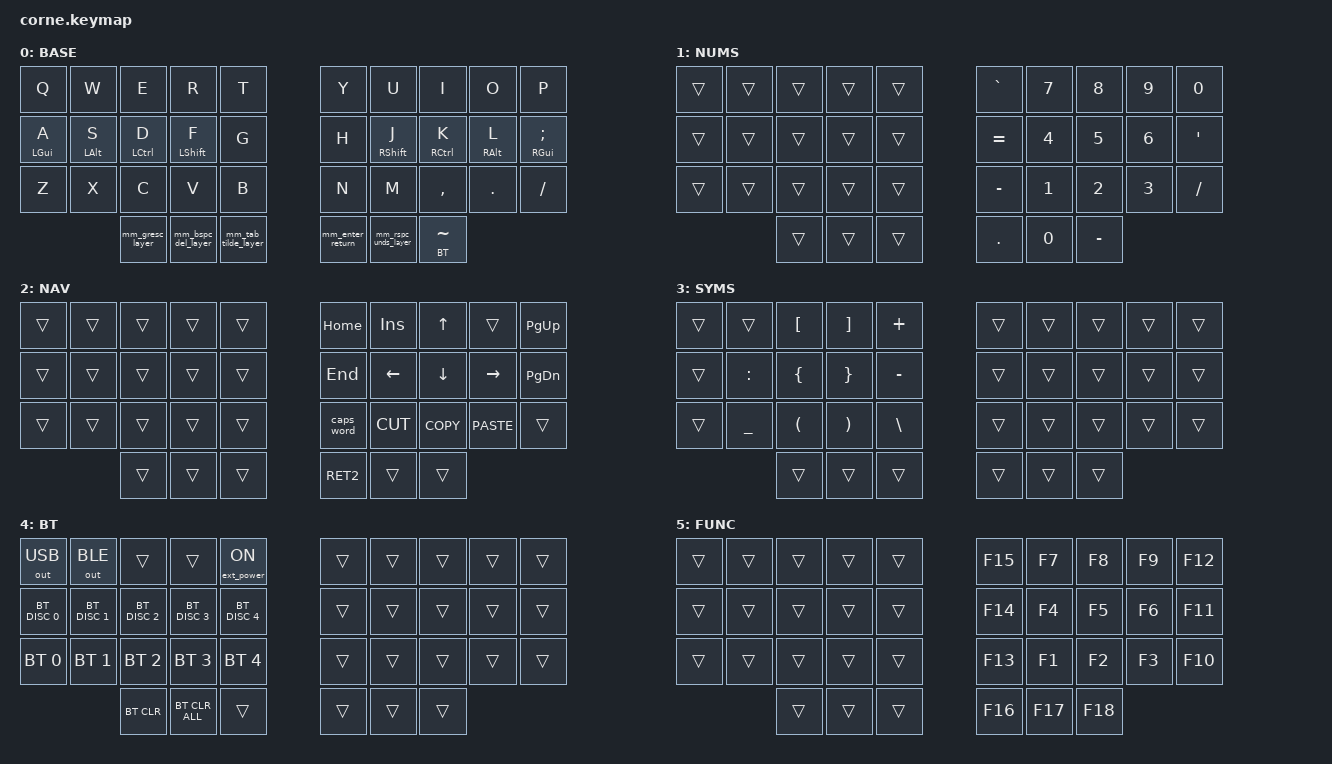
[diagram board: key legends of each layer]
#include <behaviors.dtsi>
#include <dt-bindings/zmk/keys.h>
#include <dt-bindings/zmk/bt.h>
#include <dt-bindings/zmk/ext_power.h>
#include <dt-bindings/zmk/outputs.h>

#include "keypos_36keys.h"

#define HM_TAPPING_TERM 300
#define HM_TAPPING_TERM_FAST 200
#define HM_PRIOR_IDLE 150
#define QUICK_TAP_MS 175

#define BASE 0
#define NUMS 1
#define NAV  2
#define SYMS 3
#define BT   4
#define FUNC 5

&sk {
  release-after-ms = <900>;
  quick-release;
};

&sl { // Allow sticky mods to chord across sticky layers.
  ignore-modifiers;
};

&lt {
  flavor = "balanced";
  tapping-term-ms = <200>;
  quick-tap-ms = <QUICK_TAP_MS>;
};

&mt {
  flavor = "balanced";
  quick-tap-ms = <QUICK_TAP_MS>;
};

&caps_word {
  continue-list = <
    UNDERSCORE MINUS
    LCTRL LALT LGUI LSHFT
    RCTRL RALT RGUI RSHFT
    BACKSPACE
  >;
};

/ {
    chosen {
      zmk,matrix_transform = &five_column_transform;
    };

    behaviors {
        mm_gresc_layer: grave_escape_layer {
            compatible = "zmk,behavior-mod-morph";
            #binding-cells = <0>;
            bindings = <&lt FUNC ESC>, <&kp GRAVE>;
            mods = <(MOD_LSFT|MOD_LCTL)>;
        };

        mm_tab_tilde_layer: tab_tilde_layer {
            compatible = "zmk,behavior-mod-morph";
            #binding-cells = <0>;
            bindings = <&lt NAV TAB>, <&kp TILDE>;
            mods = <(MOD_LSFT|MOD_LCTL)>;
        };

        mm_bspc_del_layer: modmorph_bspc_del_layer {
            compatible = "zmk,behavior-mod-morph";
            #binding-cells = <0>;
            bindings = <&lt NUMS BSPC>, <&kp DEL>;
            mods = <(MOD_RCTL|MOD_RSFT)>;
        };

        mm_rspc_unds_layer: modmorph_rspace_underscore_layer {
            compatible = "zmk,behavior-mod-morph";
            #binding-cells = <0>;
            bindings = <&lt SYMS SPACE>, <&kp MINUS>;
            mods = <(MOD_LCTL|MOD_LSFT)>;
            keep-mods = <(MOD_RSFT)>;
        };

        mm_enter_return: modmorph_enter_return {
            compatible = "zmk,behavior-mod-morph";
            #binding-cells = <0>;
            bindings = <&kp RET>, <&kp RET2>;
            mods = <(MOD_LSFT|MOD_LCTL)>;
        };

        hm_l: homerow_mods_left {
            compatible = "zmk,behavior-hold-tap";
            #binding-cells = <2>;
            bindings = <&kp>,  <&kp>;

            flavor = "balanced";
            tapping-term-ms = <HM_TAPPING_TERM>;
            quick-tap-ms = <QUICK_TAP_MS>; // repeat on tap-into-hold
            //global-quick-tap-ms = <75>;
            require-prior-idle-ms = <HM_PRIOR_IDLE>;

            hold-trigger-key-positions = <KEYS_R KEYS_T>;
            hold-trigger-on-release;
        };

        hm_r: homerow_mods_right {
            compatible = "zmk,behavior-hold-tap";
            #binding-cells = <2>;
            bindings = <&kp>, <&kp>;

            flavor = "balanced";
            tapping-term-ms = <HM_TAPPING_TERM>;
            quick-tap-ms = <QUICK_TAP_MS>;
            //global-quick-tap-ms = <75>;
            require-prior-idle-ms = <HM_PRIOR_IDLE>;

            hold-trigger-key-positions = <KEYS_L KEYS_T>;
            hold-trigger-on-release;
        };

        hm_shift_l: hm_shift_l {
            compatible = "zmk,behavior-hold-tap";
            #binding-cells = <2>;
            bindings = <&kp>, <&kp>;

            flavor = "balanced";
            tapping-term-ms = <HM_TAPPING_TERM_FAST>;
            quick-tap-ms = <QUICK_TAP_MS>;
            require-prior-idle-ms = <HM_PRIOR_IDLE>;

            hold-trigger-key-positions = <KEYS_R KEYS_T>;
        };

        hm_shift_r: hm_shift_r {
            compatible = "zmk,behavior-hold-tap";
            #binding-cells = <2>;
            bindings = <&kp>, <&kp>;

            flavor = "balanced";
            tapping-term-ms = <HM_TAPPING_TERM_FAST>;
            quick-tap-ms = <QUICK_TAP_MS>;
            require-prior-idle-ms = <HM_PRIOR_IDLE>;

            hold-trigger-key-positions = <KEYS_L KEYS_T>;
            // hold-trigger-on-release;
        };
    };

        keymap {
                compatible = "zmk,keymap";

                default_layer {
                        display-name = "BASE";
                        bindings = <
  // ╭─────────────────────┬─────────────────────┬─────────────────────┬─────────────────────┬─────────────────────╮   ╭─────────────────────┬─────────────────────┬─────────────────────┬─────────────────────┬─────────────────────╮
       &kp Q                 &kp W                 &kp E                 &kp R                 &kp T                     &kp Y                 &kp U                 &kp I                 &kp O                 &kp P
  // ├─────────────────────┼─────────────────────┼─────────────────────┼─────────────────────┼─────────────────────┤   ├─────────────────────┼─────────────────────┼─────────────────────┼─────────────────────┼─────────────────────┤
       &hm_l LGUI A          &hm_l LALT S          &hm_l LCTRL D         &hm_shift_l LSHIFT F  &kp G                     &kp H                 &hm_shift_r RSHIFT J  &hm_r RCTRL K         &hm_r RALT L          &hm_r RGUI SEMI
  // ├─────────────────────┼─────────────────────┼─────────────────────┼─────────────────────┼─────────────────────┤   ├─────────────────────┼─────────────────────┼─────────────────────┼─────────────────────┼─────────────────────┤
       &kp Z                 &kp X                 &kp C                 &kp V                 &kp B                     &kp N                 &kp M                 &kp COMMA             &kp PERIOD            &kp FSLH
  // ├─────────────────────┼─────────────────────┼─────────────────────┼─────────────────────┼─────────────────────┤   ├─────────────────────┼─────────────────────┼─────────────────────┼─────────────────────┼─────────────────────┤
                                                   &mm_gresc_layer       &mm_bspc_del_layer    &mm_tab_tilde_layer       &mm_enter_return      &mm_rspc_unds_layer   &lt BT TILDE
  //                                             ╰─────────────────────┴─────────────────────┴─────────────────────╯   ╰─────────────────────┴─────────────────────┴─────────────────────╯
                        >;
                };

                numpad_layer {
                        display-name = "NUMS";
                        bindings = <
  // ╭─────────────┬─────────────┬─────────────┬─────────────┬─────────────╮   ╭─────────────┬─────────────┬─────────────┬─────────────┬─────────────╮
       &trans        &trans        &trans        &trans        &trans            &kp GRAVE     &kp N7        &kp N8        &kp N9        &kp N0
  // ├─────────────┼─────────────┼─────────────┼─────────────┼─────────────┤   ├─────────────┼─────────────┼─────────────┼─────────────┼─────────────┤
       &trans        &trans        &trans        &trans        &trans            &kp EQUAL     &kp N4        &kp N5        &kp N6        &kp SQT
  // ├─────────────┼─────────────┼─────────────┼─────────────┼─────────────┤   ├─────────────┼─────────────┼─────────────┼─────────────┼─────────────┤
       &trans        &trans        &trans        &trans        &trans            &kp MINUS     &kp N1        &kp N2        &kp N3        &kp FSLH
  // ├─────────────┼─────────────┼─────────────┼─────────────┼─────────────┤   ├─────────────┼─────────────┼─────────────┼─────────────┼─────────────┤
                                   &trans        &trans        &trans            &kp PERIOD    &kp N0        &kp MINUS
  //                             ╰─────────────┴─────────────┴─────────────╯   ╰─────────────┴─────────────┴─────────────╯
                        >;
                };

                nav_layer {
                        display-name = "NAV";
                        bindings = <

  // ╭─────────────┬─────────────┬─────────────┬─────────────┬─────────────╮   ╭─────────────┬─────────────┬─────────────┬─────────────┬─────────────╮
       &trans        &trans        &trans        &trans        &trans            &kp HOME      &kp INSERT    &kp UP        &trans        &kp PG_UP 
  // ├─────────────┼─────────────┼─────────────┼─────────────┼─────────────┤   ├─────────────┼─────────────┼─────────────┼─────────────┼─────────────┤
       &trans        &trans        &trans        &trans        &trans            &kp END       &kp LEFT      &kp DOWN      &kp RIGHT     &kp PG_DN
  // ├─────────────┼─────────────┼─────────────┼─────────────┼─────────────┤   ├─────────────┼─────────────┼─────────────┼─────────────┼─────────────┤
       &trans        &trans        &trans        &trans        &trans            &caps_word    &kp K_CUT     &kp K_COPY    &kp K_PASTE   &trans
  // ├─────────────┼─────────────┼─────────────┼─────────────┼─────────────┤   ├─────────────┼─────────────┼─────────────┼─────────────┼─────────────┤
                                   &trans        &trans        &trans            &kp RET2      &trans        &trans
  //                             ╰─────────────┴─────────────┴─────────────╯   ╰─────────────┴─────────────┴─────────────╯
                        >;
                };

                symbol_layer {
                        display-name = "SYMS";
                        bindings = <
  // ╭─────────────┬─────────────┬─────────────┬─────────────┬─────────────╮   ╭─────────────┬─────────────┬─────────────┬─────────────┬─────────────╮
       &trans        &trans        &kp LBKT      &kp RBKT      &kp PLUS          &trans        &trans        &trans        &trans        &trans
  // ├─────────────┼─────────────┼─────────────┼─────────────┼─────────────┤   ├─────────────┼─────────────┼─────────────┼─────────────┼─────────────┤
       &trans        &kp COLON     &kp LBRC      &kp RBRC      &kp MINUS         &trans        &trans        &trans        &trans        &trans
  // ├─────────────┼─────────────┼─────────────┼─────────────┼─────────────┤   ├─────────────┼─────────────┼─────────────┼─────────────┼─────────────┤
       &trans        &kp UNDER     &kp LPAR      &kp RPAR      &kp BSLH          &trans        &trans        &trans        &trans        &trans
  // ├─────────────┼─────────────┼─────────────┼─────────────┼─────────────┤   ├─────────────┼─────────────┼─────────────┼─────────────┼─────────────┤
                                   &trans        &trans        &trans            &trans        &trans        &trans
  //                             ╰─────────────┴─────────────┴─────────────╯   ╰─────────────┴─────────────┴─────────────╯
                        >;
                };

                bluetooth_layer {
                        display-name = "BT";
                        bindings = <
  // ╭─────────────┬─────────────┬─────────────┬─────────────┬──────────────────╮   ╭─────────────┬─────────────┬─────────────┬─────────────┬─────────────╮
      &out OUT_USB  &out OUT_BLE  &trans         &trans       &ext_power EP_ON        &trans        &trans        &trans        &trans        &trans
  // ├─────────────┼─────────────┼─────────────┼─────────────┼──────────────────┤   ├─────────────┼─────────────┼─────────────┼─────────────┼─────────────┤
      &bt BT_DISC 0 &bt BT_DISC 1 &bt BT_DISC 2 &bt BT_DISC 3 &bt BT_DISC 4           &trans        &trans        &trans        &trans        &trans
  // ├─────────────┼─────────────┼─────────────┼─────────────┼──────────────────┤   ├─────────────┼─────────────┼─────────────┼─────────────┼─────────────┤
       &bt BT_SEL 0  &bt BT_SEL 1  &bt BT_SEL 2  &bt BT_SEL 3  &bt BT_SEL 4           &trans        &trans        &trans        &trans        &trans
  // ├─────────────┼─────────────┼─────────────┼─────────────┼──────────────────┤   ├─────────────┼─────────────┼─────────────┼─────────────┼─────────────┤
                                   &bt BT_CLR   &bt BT_CLR_ALL &trans                 &trans        &trans        &trans
  //                             ╰─────────────┴─────────────┴──────────────────╯   ╰─────────────┴─────────────┴─────────────╯
                        >;
                };

                func_layer {
                        display-name = "FUNC";
                        bindings = <
  // ╭─────────────┬─────────────┬─────────────┬─────────────┬─────────────╮   ╭─────────────┬─────────────┬─────────────┬─────────────┬─────────────╮
       &trans        &trans        &trans        &trans        &trans            &kp F15        &kp F7        &kp F8        &kp F9        &kp F12
  // ├─────────────┼─────────────┼─────────────┼─────────────┼─────────────┤   ├─────────────┼─────────────┼─────────────┼─────────────┼─────────────┤
       &trans        &trans        &trans        &trans        &trans            &kp F14        &kp F4        &kp F5        &kp F6        &kp F11
  // ├─────────────┼─────────────┼─────────────┼─────────────┼─────────────┤   ├─────────────┼─────────────┼─────────────┼─────────────┼─────────────┤
       &trans        &trans        &trans        &trans        &trans            &kp F13        &kp F1        &kp F2        &kp F3        &kp F10
  // ├─────────────┼─────────────┼─────────────┼─────────────┼─────────────┤   ├─────────────┼─────────────┼─────────────┼─────────────┼─────────────┤
                                   &trans        &trans        &trans            &kp F16       &kp F17       &kp F18
  //                             ╰─────────────┴─────────────┴─────────────╯   ╰─────────────┴─────────────┴─────────────╯
                        >;
                };
        };
};

// vim: set syntax=dts:
